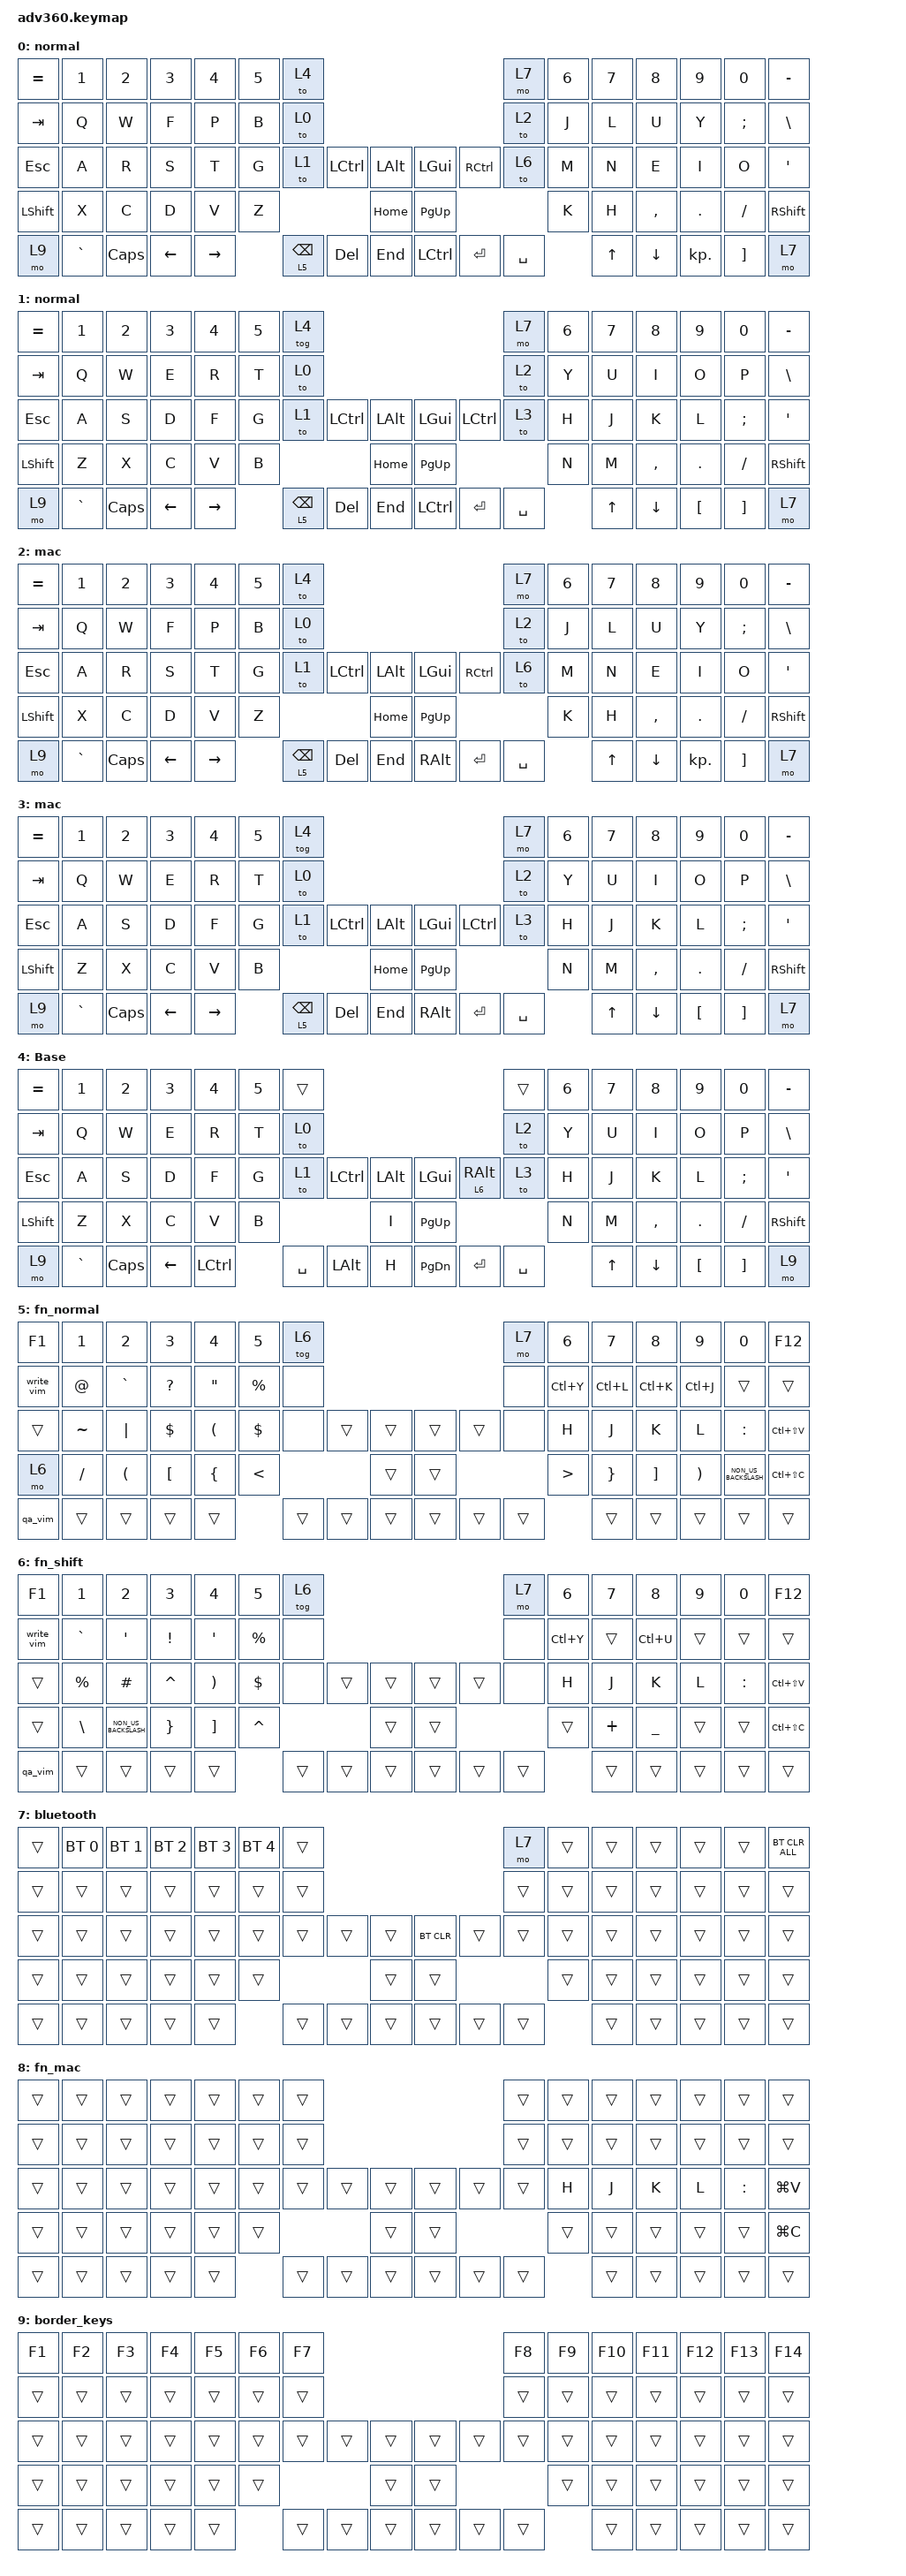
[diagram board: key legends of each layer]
#include <dt-bindings/zmk/stp.h>
#include <behaviors.dtsi>
#include <dt-bindings/zmk/bt.h>
#include <dt-bindings/zmk/keys.h>

/ {
    behaviors {
        #include "macros.dtsi"
      #include "version.dtsi"

        nvim_lux: nvim_lux {
            compatible = "zmk,behavior-hold-tap";
            label = "NVIM_LUX";
            bindings = <&mo>, <&kp>;

            #binding-cells = <2>;
            tapping-term-ms = <250>;
            flavor = "tap-preferred";
            quick-tap-ms = <250>;
        };
    };

    macros {
        half_circle_forwadD: half_circle_forwadD {
            compatible = "zmk,behavior-macro";
            #binding-cells = <0>;
            bindings = <&kp S &kp D &kp D>;
            label = "HALF_CIRCLE_FORWADD";
        };

        qa_vim: qa_vim {
            compatible = "zmk,behavior-macro";
            #binding-cells = <0>;
            bindings = <&kp COLON &kp Q &kp A>;
            label = "QA_VIM";
        };

        write_vim: write_vim {
            compatible = "zmk,behavior-macro";
            #binding-cells = <0>;
            bindings = <&kp COLON &kp W>;
            label = "WRITE_VIM";
        };

        half_circle_back: half_circle_back {
            compatible = "zmk,behavior-macro";
            #binding-cells = <0>;
            bindings = <&kp S &kp A &kp A>;
            label = "HALF_CIRCLE_BACK";
        };

        downdown: downdown {
            compatible = "zmk,behavior-macro";
            #binding-cells = <0>;
            bindings = <&kp S &kp N0 &kp S>;
            label = "DOWNDOWN";
        };

        f_down_forward: f_down_forward {
            compatible = "zmk,behavior-macro";
            #binding-cells = <0>;
            bindings = <&kp D &kp S &kp D &kp D>;
            label = "F_DOWN_FORWARD";
        };

        back_down_back: back_down_back {
            compatible = "zmk,behavior-macro";
            #binding-cells = <0>;
            bindings = <&kp A &kp S &kp A &kp A>;
            label = "BACK_DOWN_BACK";
        };
    };

    keymap {
        compatible = "zmk,keymap";

        Colemak-DHM {
            display-name = "normal";
            bindings = <
&kp EQUAL  &kp N1     &kp N2    &kp N3    &kp N4     &kp N5  &to 4                                                                        &mo 7      &kp N6  &kp N7  &kp N8     &kp N9      &kp N0         &kp MINUS
&kp TAB    &kp Q      &kp W     &kp F     &kp P      &kp B   &to 0                                                                        &to 2      &kp J   &kp L   &kp U      &kp Y       &kp SEMICOLON  &kp BSLH
&kp ESC    &kp A      &kp R     &kp S     &kp T      &kp G   &to 1                  &kp LCTRL  &kp LALT      &kp LGUI          &kp RCTRL  &to 6      &kp M   &kp N   &kp E      &kp I       &kp O          &kp SQT
&kp LSHFT  &kp X      &kp C     &kp D     &kp V      &kp Z                                     &kp HOME      &kp PG_UP                               &kp K   &kp H   &kp COMMA  &kp PERIOD  &kp SLASH      &kp RSHFT
&mo 9      &kp GRAVE  &kp CAPS  &kp LEFT  &kp RIGHT          &nvim_lux 5 BACKSPACE  &kp DEL    &kp END       &kp LEFT_CONTROL  &kp ENTER  &kp SPACE          &kp UP  &kp DOWN   &kp KP_DOT  &kp RBKT       &mo 7
            >;

            label = "normal";
        };

        low-key-QWERTY {
            display-name = "normal";
            bindings = <
&kp EQUAL  &kp N1     &kp N2    &kp N3    &kp N4     &kp N5  &tog 4                                                                                     &mo 7      &kp N6  &kp N7  &kp N8     &kp N9    &kp N0    &kp MINUS
&kp TAB    &kp Q      &kp W     &kp E     &kp R      &kp T   &to 0                                                                                      &to 2      &kp Y   &kp U   &kp I      &kp O     &kp P     &kp BSLH
&kp ESC    &kp A      &kp S     &kp D     &kp F      &kp G   &to 1                  &kp LEFT_CONTROL  &kp LALT      &kp LGUI          &kp LEFT_CONTROL  &to 3      &kp H   &kp J   &kp K      &kp L     &kp SEMI  &kp SQT
&kp LSHFT  &kp Z      &kp X     &kp C     &kp V      &kp B                                            &kp HOME      &kp PG_UP                                      &kp N   &kp M   &kp COMMA  &kp DOT   &kp FSLH  &kp RSHFT
&mo 9      &kp GRAVE  &kp CAPS  &kp LEFT  &kp RIGHT          &nvim_lux 5 BACKSPACE  &kp DEL           &kp END       &kp LEFT_CONTROL  &kp ENTER         &kp SPACE          &kp UP  &kp DOWN   &kp LBKT  &kp RBKT  &mo 7
            >;
        };

        Colemak-DHM-mac {
            label = "mac";
            display-name = "mac";
            bindings = <
&kp EQUAL  &kp N1     &kp N2    &kp N3    &kp N4     &kp N5  &to 4                                                                     &mo 7      &kp N6  &kp N7  &kp N8     &kp N9      &kp N0         &kp MINUS
&kp TAB    &kp Q      &kp W     &kp F     &kp P      &kp B   &to 0                                                                     &to 2      &kp J   &kp L   &kp U      &kp Y       &kp SEMICOLON  &kp BSLH
&kp ESC    &kp A      &kp R     &kp S     &kp T      &kp G   &to 1                  &kp LCTRL  &kp LALT      &kp LGUI       &kp RCTRL  &to 6      &kp M   &kp N   &kp E      &kp I       &kp O          &kp SQT
&kp LSHFT  &kp X      &kp C     &kp D     &kp V      &kp Z                                     &kp HOME      &kp PG_UP                            &kp K   &kp H   &kp COMMA  &kp PERIOD  &kp SLASH      &kp RSHFT
&mo 9      &kp GRAVE  &kp CAPS  &kp LEFT  &kp RIGHT          &nvim_lux 5 BACKSPACE  &kp DEL    &kp END       &kp RIGHT_ALT  &kp ENTER  &kp SPACE          &kp UP  &kp DOWN   &kp KP_DOT  &kp RBKT       &mo 7
            >;
        };

        low-key-QWERTY-mac {
            display-name = "mac";
            bindings = <
&kp EQUAL  &kp N1     &kp N2    &kp N3    &kp N4     &kp N5  &tog 4                                                                                  &mo 7      &kp N6  &kp N7  &kp N8     &kp N9    &kp N0    &kp MINUS
&kp TAB    &kp Q      &kp W     &kp E     &kp R      &kp T   &to 0                                                                                   &to 2      &kp Y   &kp U   &kp I      &kp O     &kp P     &kp BSLH
&kp ESC    &kp A      &kp S     &kp D     &kp F      &kp G   &to 1                  &kp LEFT_CONTROL  &kp LALT      &kp LGUI       &kp LEFT_CONTROL  &to 3      &kp H   &kp J   &kp K      &kp L     &kp SEMI  &kp SQT
&kp LSHFT  &kp Z      &kp X     &kp C     &kp V      &kp B                                            &kp HOME      &kp PG_UP                                   &kp N   &kp M   &kp COMMA  &kp DOT   &kp FSLH  &kp RSHFT
&mo 9      &kp GRAVE  &kp CAPS  &kp LEFT  &kp RIGHT          &nvim_lux 5 BACKSPACE  &kp DEL           &kp END       &kp RIGHT_ALT  &kp ENTER         &kp SPACE          &kp UP  &kp DOWN   &kp LBKT  &kp RBKT  &mo 7
            >;
        };

        SF6 {
            display-name = "Base";
            bindings = <
&kp EQUAL  &kp N1     &kp N2    &kp N3    &kp N4     &kp N5  &trans                                                                 &trans     &kp N6  &kp N7  &kp N8     &kp N9    &kp N0    &kp MINUS
&kp TAB    &kp Q      &kp W     &kp E     &kp R      &kp T   &to 0                                                                  &to 2      &kp Y   &kp U   &kp I      &kp O     &kp P     &kp BSLH
&kp ESC    &kp A      &kp S     &kp D     &kp F      &kp G   &to 1      &kp LEFT_CONTROL  &kp LALT      &kp LGUI   &lt 6 RIGHT_ALT  &to 3      &kp H   &kp J   &kp K      &kp L     &kp SEMI  &kp SQT
&kp LSHFT  &kp Z      &kp X     &kp C     &kp V      &kp B                                &kp I         &kp PG_UP                              &kp N   &kp M   &kp COMMA  &kp DOT   &kp FSLH  &kp RSHFT
&mo 9      &kp GRAVE  &kp CAPS  &kp LEFT  &kp LCTRL          &kp SPACE  &kp LEFT_ALT      &kp H         &kp PG_DN  &kp ENTER        &kp SPACE          &kp UP  &kp DOWN   &kp LBKT  &kp RBKT  &mo 9
            >;
        };

        fn {
            display-name = "fn_normal";
            bindings = <
&kp F1      &kp NUMBER_1  &kp NUMBER_2          &kp NUMBER_3      &kp NUMBER_4          &kp N5         &tog 6                                      &mo 7   &kp NUMBER_6      &kp N7           &kp N8             &kp N9                 &kp N0                &kp F12
&write_vim  &kp AT_SIGN   &kp GRAVE             &kp QUESTION      &kp DOUBLE_QUOTES     &kp PERCENT    &none                                       &none   &kp LC(Y)         &kp LC(L)        &kp LC(K)          &kp LC(J)              &trans                &trans
&trans      &kp TILDE     &kp PIPE              &kp DOLLAR        &kp LEFT_PARENTHESIS  &kp DOLLAR     &none   &trans  &trans      &trans  &trans  &none   &kp H             &kp J            &kp K              &kp L                  &kp COLON             &kp LC(LS(V))
&mo 6       &kp SLASH     &kp LEFT_PARENTHESIS  &kp LEFT_BRACKET  &kp LEFT_BRACE        &kp LESS_THAN                  &trans      &trans                  &kp GREATER_THAN  &kp RIGHT_BRACE  &kp RIGHT_BRACKET  &kp RIGHT_PARENTHESIS  &kp NON_US_BACKSLASH  &kp LC(LS(C))
&qa_vim     &trans        &trans                &trans            &trans                               &trans  &trans  &trans      &trans  &trans  &trans                    &trans           &trans             &trans                 &trans                &trans
            >;
        };

        fn_shift {
            display-name = "fn_shift";
            bindings = <
&kp F1      &kp NUMBER_1   &kp NUMBER_2          &kp NUMBER_3     &kp NUMBER_4           &kp N5       &tog 6                                      &mo 7   &kp NUMBER_6  &kp N7    &kp N8          &kp N9  &kp N0     &kp F12
&write_vim  &kp GRAVE      &kp SINGLE_QUOTE      &kp EXCLAMATION  &kp SQT                &kp PERCENT  &none                                       &none   &kp LC(Y)     &trans    &kp LC(U)       &trans  &trans     &trans
&trans      &kp PERCENT    &kp HASH              &kp CARET        &kp RIGHT_PARENTHESIS  &kp DOLLAR   &none   &trans  &trans      &trans  &trans  &none   &kp H         &kp J     &kp K           &kp L   &kp COLON  &kp LC(LS(V))
&trans      &kp BACKSLASH  &kp NON_US_BACKSLASH  &kp RIGHT_BRACE  &kp RIGHT_BRACKET      &kp CARET                    &trans      &trans                  &trans        &kp PLUS  &kp UNDERSCORE  &trans  &trans     &kp LC(LS(C))
&qa_vim     &trans         &trans                &trans           &trans                              &trans  &trans  &trans      &trans  &trans  &trans                &trans    &trans          &trans  &trans     &trans
            >;
        };

        bluetooth {
            bindings = <
&trans  &bt BT_SEL 0  &bt BT_SEL 1  &bt BT_SEL 2  &bt BT_SEL 3  &bt BT_SEL 4  &trans                                          &mo 7   &trans  &trans  &trans  &trans  &trans  &bt BT_CLR_ALL
&trans  &trans        &trans        &trans        &trans        &trans        &trans                                          &trans  &trans  &trans  &trans  &trans  &trans  &trans
&trans  &trans        &trans        &trans        &trans        &trans        &trans  &trans  &trans      &bt BT_CLR  &trans  &trans  &trans  &trans  &trans  &trans  &trans  &trans
&trans  &trans        &trans        &trans        &trans        &trans                        &trans      &trans                      &trans  &trans  &trans  &trans  &trans  &trans
&trans  &trans        &trans        &trans        &trans                      &trans  &trans  &trans      &trans      &trans  &trans          &trans  &trans  &trans  &trans  &trans
            >;
        };

        fn_mac {
            display-name = "fn_mac";
            bindings = <
&trans  &trans  &trans  &trans  &trans  &trans  &trans                                      &trans  &trans  &trans  &trans  &trans  &trans     &trans
&trans  &trans  &trans  &trans  &trans  &trans  &trans                                      &trans  &trans  &trans  &trans  &trans  &trans     &trans
&trans  &trans  &trans  &trans  &trans  &trans  &trans  &trans  &trans      &trans  &trans  &trans  &kp H   &kp J   &kp K   &kp L   &kp COLON  &kp LG(V)
&trans  &trans  &trans  &trans  &trans  &trans                  &trans      &trans                  &trans  &trans  &trans  &trans  &trans     &kp LG(C)
&trans  &trans  &trans  &trans  &trans          &trans  &trans  &trans      &trans  &trans  &trans          &trans  &trans  &trans  &trans     &trans
            >;
        };

        border_keys {
            bindings = <
&kp F1  &kp F2  &kp F3  &kp F4  &kp F5  &kp F6  &kp F7                                      &kp F8  &kp F9  &kp F10  &kp F11  &kp F12  &kp F13  &kp F14
&trans  &trans  &trans  &trans  &trans  &trans  &trans                                      &trans  &trans  &trans   &trans   &trans   &trans   &trans
&trans  &trans  &trans  &trans  &trans  &trans  &trans  &trans  &trans      &trans  &trans  &trans  &trans  &trans   &trans   &trans   &trans   &trans
&trans  &trans  &trans  &trans  &trans  &trans                  &trans      &trans                  &trans  &trans   &trans   &trans   &trans   &trans
&trans  &trans  &trans  &trans  &trans          &trans  &trans  &trans      &trans  &trans  &trans          &trans   &trans   &trans   &trans   &trans
            >;
        };
    };

    conditional_layers { compatible = "zmk,conditional-layers"; };
};
